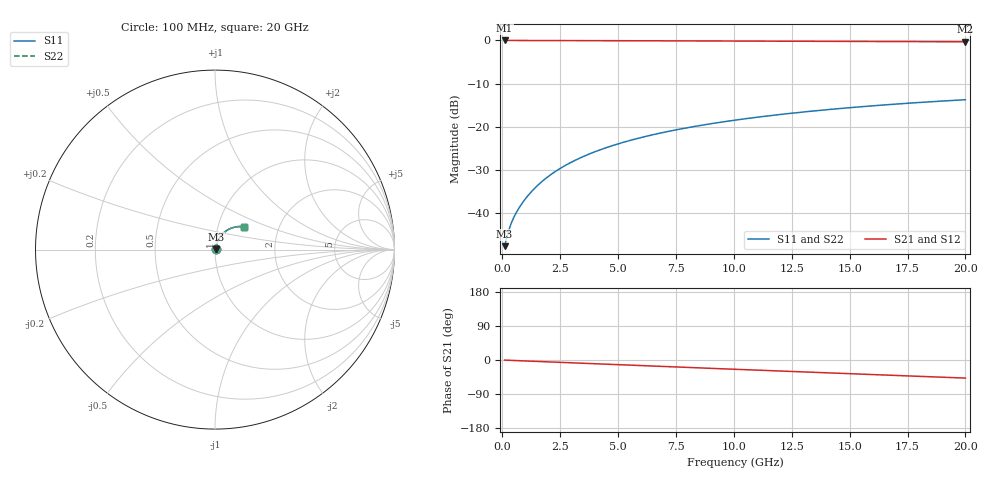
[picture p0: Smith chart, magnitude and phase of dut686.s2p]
! Touchstone file exported from HFSS 2026.1.0
!  File:  C:/ffzhzh/LocalFiles/Ansys_Project_Files/temp_train_TMRDL_686_1783010215_46388.aedt
!  Generated:  12:38:10 AM Jul  3, 2026
!  Design:  TMRDL
!  Project:  temp_train_TMRDL_686_1783010215_46388
! Variables:
!  h_bsmrdl = 2um
!  h_ox = 20um
!  h_rdl = 5um
!  h_sub = 80um
!  h_tmrdl = 3.35um
!  h_tsv = 80um
!  h_via = 3um
!  l_bsmrdl = 300um
!  l_sub = 1214.38um
!  l_tmrdl = 814.38um
!  m_sub = 200um
!  pitch = 34.61um
!  r_tsv = 6um
!  s_tmrdl = 10um
!  w_bsmrdl = 18um
!  w_sub = 500um
!  w_tmrdl = 24.72um
!  x_tsv_center1 = 826.74um
!  x_tsv_center2 = 1144.74um
!  x_tsv_center3 = 1983.84um
!  x_tsv_center4 = 2301.84um
!  x_tsv_center5 = 3140.94um
!  x_tsv_center6 = 3458.94um
# GHz S MA R 50.000000
! Terminal data exported
! Port[1] = TM_RDL1_1_T1
! Port[2] = TM_RDL1_1_T2
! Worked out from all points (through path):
!   200 points, 100 MHz to 20 GHz, reference 50 ohm
!   highest |S21| = -0.03 dB at 100 MHz (marker M1); lowest = -0.3 dB at 20 GHz (marker M2)
!   group delay of S21, straight-line fit = 6.61 ps
!   lowest |S11| = -47.6 dB at 100 MHz (marker M3), VSWR 1.01, Z = 50.4 + j0.181 ohm
!   |S11| at or under -10 dB: start of sweep to end of sweep
!   |S22| runs from -47.6 to -13.7 dB; largest |S21 - S12| = 2.8e-15
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0.1  0.004171 25.5  0.9962 -0.3  0.9962 -0.3  0.004171 25.5
! Gamma 0 0 0 0
! Port Impedance 50 0 50 0
0.2  0.005346 39.8  0.9959 -0.5  0.9959 -0.5  0.005347 39.8
0.3  0.006617 47.2  0.9956 -0.8  0.9956 -0.8  0.006618 47.2
0.4  0.007834 51.7  0.9952 -1.1  0.9952 -1.1  0.007834 51.7
0.5  0.008999 55.1  0.995 -1.3  0.995 -1.3  0.008999 55.1
0.6  0.01014 57.9  0.9948 -1.5  0.9948 -1.5  0.01014 57.9
0.8  0.01242 62.1  0.9946 -2.0  0.9946 -2.0  0.01242 62.1
1  0.01473 65.2  0.9944 -2.5  0.9944 -2.5  0.01473 65.2
1.2  0.0171 67.5  0.9942 -3.0  0.9942 -3.0  0.0171 67.5
1.7  0.02315 70.8  0.9938 -4.3  0.9938 -4.3  0.02315 70.8
2.2  0.02932 72.2  0.9934 -5.5  0.9934 -5.5  0.02932 72.2
2.8  0.03675 72.7  0.9928 -7.0  0.9928 -7.0  0.03675 72.7
3.5  0.04538 72.4  0.992 -8.7  0.992 -8.7  0.04538 72.4
4.2  0.05391 71.5  0.991 -10.4  0.991 -10.4  0.05391 71.5
5  0.06351 70.2  0.9898 -12.4  0.9898 -12.4  0.06351 70.2
5.9  0.07408 68.5  0.9883 -14.6  0.9883 -14.6  0.07407 68.5
6.8  0.08438 66.7  0.9867 -16.7  0.9867 -16.7  0.08438 66.7
8.3  0.101 63.5  0.9839 -20.3  0.9839 -20.3  0.101 63.5
10.1  0.1199 59.6  0.9805 -24.6  0.9805 -24.6  0.1199 59.5
13.4  0.1521 52.3  0.974 -32.4  0.974 -32.4  0.152 52.3
16.7  0.1808 45.1  0.9677 -40.1  0.9677 -40.1  0.1807 45.1
20  0.2057 37.9  0.9616 -47.7  0.9616 -47.7  0.2057 37.9
